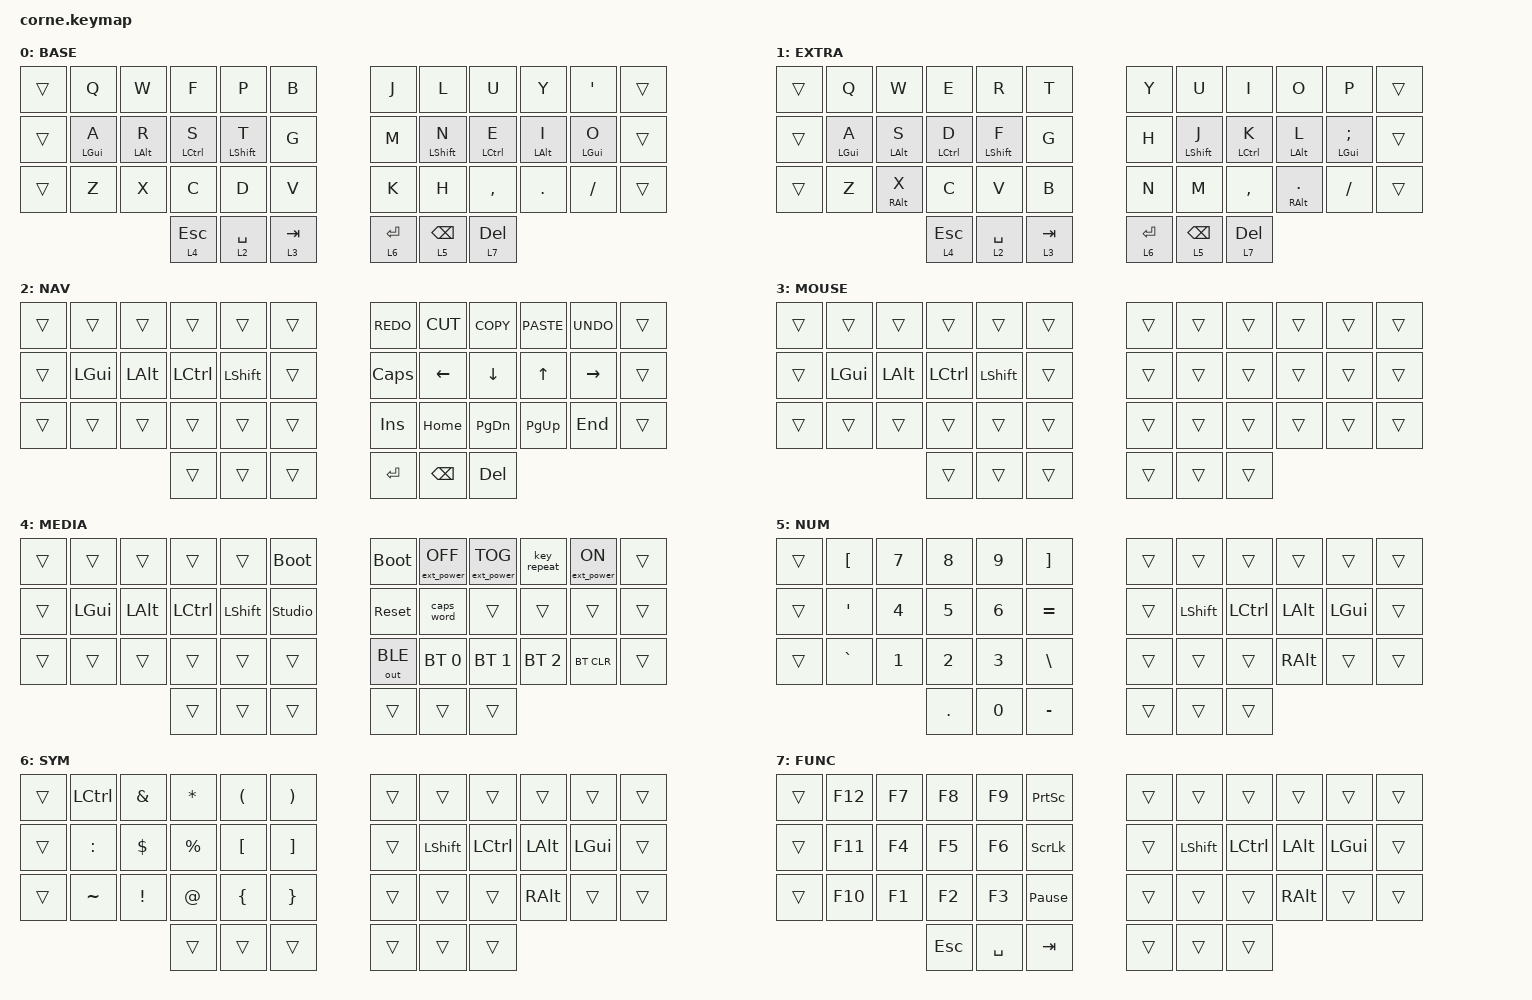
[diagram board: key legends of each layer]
#include <behaviors.dtsi>
#include <dt-bindings/zmk/bt.h>
#include <dt-bindings/zmk/ext_power.h>
#include <dt-bindings/zmk/keys.h>
#include <dt-bindings/zmk/outputs.h>

// Layer Definitions

#define COLEMAK 0
#define QWERTY 1
#define NAV 2
#define MOUSE 3
#define MEDIA 4
#define NUM 5
#define SYM 6
#define FN 7

// Behavior configuration

&mt {
    tapping-term-ms = <200>;
    quick_tap_ms = <0>;
    flavor = "tap-preferred";
};

&lt {
    tapping-term-ms = <200>;
    quick_tap_ms = <0>;
    flavor = "tap-preferred";
};

&sk {
    release-after-ms = <500>;
    quick-release;
};

// Keymap configuration (Colemak-DHm)

/ {
    combos {
        compatible = "zmk,combos";

        studio_unlock {
            bindings = <&studio_unlock>;
            key-positions = <3 15>;
        };

        extra_layer {
            bindings = <&to 1>;
            key-positions = <8 20>;
        };

        e_circumflex {
            bindings = <&kp LC(E)>;
            key-positions = <20 9>;
        };
    };

    keymap {
        compatible = "zmk,keymap";

        colemak {
            // -----------------------------------------------------------------------------------------------------------------------------
            // |        |   Q    |   W    |     E     |     R     |     T     | # |     Y     |     U    |    I    |    O   |   P    |     |
            // | LAYERS | A/LGUI | S/LALT |  D/LCTRL  |  F/LSHFT  |     G     | # |     H     | J/LSHFT  | K/LCTRR | L/LALT | ;/LGUI |     |
            // |        |   Z    | X/RALT |     C     |     V     |     B     | # |     N     |     M    |    ,    | ./RALT |   /    |     |
            //                            | ESC/MEDIA | SPACE/NAV | TAB/MOUSE | # | ENTER/SYM | BSPC/NUM | DEL/FN  |

            bindings = <
&trans  &kp Q       &kp W       &kp F        &kp P        &kp B        &kp J        &kp L        &kp U        &kp Y       &kp SQT     &trans
&trans  &mt LGUI A  &mt LALT R  &mt LCTRL S  &mt LSHFT T  &kp G        &kp M        &mt LSHFT N  &mt LCTRL E  &mt LALT I  &mt LGUI O  &trans
&trans  &kp Z       &kp X       &kp C        &kp D        &kp V        &kp K        &kp H        &kp COMMA    &kp PERIOD  &kp FSLH    &trans
                                &lt 4 ESC    &lt 2 SPACE  &lt 3 TAB    &lt 6 ENTER  &lt 5 BSPC   &lt 7 DEL
            >;

            display-name = "BASE";
        };

        qwerty {
            // -----------------------------------------------------------------------------------------------------------------------------
            // |        |   Q    |   W    |     F     |     P     |     B     | # |     J     |    L     |    U    |    Y   |   '    |     |
            // | LAYERS | A/LGUI | R/LALT |  S/LCTRL  |  T/LSHFT  |     G     | # |     M     | N/LSHFT  | E/LCTRL | I/LALT | O/LGUI |     |
            // |        |   Z    | X/RALT |     C     |     D     |     V     | # |     K     |    H     |    ,    | ./RALT |   /    |     |
            //                            | ESC/MEDIA | SPACE/NAV | TAB/MOUSE | # | ENTER/SYM | BSPC/NUM | DEL/FN  |

            bindings = <
&trans  &kp Q       &kp W       &kp E        &kp R        &kp T        &kp Y        &kp U        &kp I        &kp O         &kp P          &trans
&trans  &mt LGUI A  &mt LALT S  &mt LCTRL D  &mt LSHFT F  &kp G        &kp H        &mt LSHFT J  &mt LCTRL K  &mt LALT L    &mt LGUI SEMI  &trans
&trans  &kp Z       &mt RALT X  &kp C        &kp V        &kp B        &kp N        &kp M        &kp COMMA    &mt RALT DOT  &kp FSLH       &trans
                                &lt 4 ESC    &lt 2 SPACE  &lt 3 TAB    &lt 6 ENTER  &lt 5 BSPC   &lt 7 DEL
            >;

            display-name = "EXTRA";
        };

        navigation {
            // -------------------------------------------------------------------------------------------
            // |     |      |      |       |       |     | # | REDO  | CUT  | COPY | PASTE | UNDO  |     |
            // |     | LGUI | LALT | LCTRL | LSHFT |     | # | CAPS  | LEFT | DOWN | UP    | RIGHT |     |
            // |     |      | RALT |       |       |     | # | INS   | HOME | PGDN | PGUP  | END   |     |
            //                     |       | HELD  |     | # | ENTER | BSPC | DEL  |

            bindings = <
&trans  &trans    &trans    &trans     &trans     &trans    &kp K_REDO    &kp K_CUT  &kp K_COPY  &kp K_PASTE  &kp K_UNDO  &trans
&trans  &kp LGUI  &kp LALT  &kp LCTRL  &kp LSHFT  &trans    &kp CAPSLOCK  &kp LEFT   &kp DOWN    &kp UP       &kp RIGHT   &trans
&trans  &trans    &trans    &trans     &trans     &trans    &kp INS       &kp HOME   &kp PG_DN   &kp PG_UP    &kp END     &trans
                            &trans     &trans     &trans    &kp ENTER     &kp BSPC   &kp DEL
            >;

            display-name = "NAV";
        };

        mouse {
            // ------------------------------------------------------------------------------------
            // |     |      |      |       |       |      | # |     |     |     |     |     |     |
            // |     | LGUI | LALT | LCTRL | LSHFT |      | # |     |     |     |     |     |     |
            // |     |      | RALT |       |       |      | # |     |     |     |     |     |     |
            //                     |       |       | HELD | # |     |     |     |

            bindings = <
&trans  &trans    &trans    &trans     &trans     &trans    &trans  &trans  &trans  &trans  &trans  &trans
&trans  &kp LGUI  &kp LALT  &kp LCTRL  &kp LSHFT  &trans    &trans  &trans  &trans  &trans  &trans  &trans
&trans  &trans    &trans    &trans     &trans     &trans    &trans  &trans  &trans  &trans  &trans  &trans
                            &trans     &trans     &trans    &trans  &trans  &trans
            >;

            display-name = "MOUSE";
        };

        media {
            // -----------------------------------------------------------------------------------------------------
            // |     |      |      |       |       |      | # | BOOTLOAD | EP_OFF | BR_D   | BR_U   | EP_ON  |     |
            // |     | LGUI | LALT | LCTRL | LSHFT | STU  | # | RESET    | PREV   | VOL_D  | VOL_U  | NEXT   |     |
            // |     |      | RALT |       |       |      | # | OUT_BLE  | BT_0   | BT_PRV | BT_NXT | BT_CLR |     |
            //                     | HELD  |       |      | # | STOP     | PLAY   | MUTE   |

            bindings = <
&trans  &trans    &trans    &trans     &trans     &bootloader       &bootloader   &ext_power EP_OFF  &ext_power EP_TOG  &key_repeat   &ext_power EP_ON  &trans
&trans  &kp LGUI  &kp LALT  &kp LCTRL  &kp LSHFT  &studio_unlock    &sys_reset    &caps_word         &trans             &trans        &trans            &trans
&trans  &trans    &trans    &trans     &trans     &trans            &out OUT_BLE  &bt BT_SEL 0       &bt BT_SEL 1       &bt BT_SEL 2  &bt BT_CLR        &trans
                            &trans     &trans     &trans            &trans        &trans             &trans
            >;

            display-name = "MEDIA";
        };

        numbers {
            // -----------------------------------------------------------------------------------
            // |     |  [  |  7  |  8  |  9  |  ]  | # |     |       |       |      |      |     |
            // |     |  ;  |  4  |  5  |  6  |  =  | # |     | LSHFT | LCTRL | LALT | LGUI |     |
            // |     |  `  |  1  |  2  |  3  |  \  | # |     |       |       | RALT |      |     |
            //                   |  .  |  0  |  -  | # |     | HELD  |       |

            bindings = <
&trans  &kp LBKT   &kp N7  &kp N8   &kp N9  &kp RBKT     &trans  &trans     &trans     &trans    &trans    &trans
&trans  &kp SQT    &kp N4  &kp N5   &kp N6  &kp EQUAL    &trans  &kp LSHFT  &kp LCTRL  &kp LALT  &kp LGUI  &trans
&trans  &kp GRAVE  &kp N1  &kp N2   &kp N3  &kp BSLH     &trans  &trans     &trans     &kp RALT  &trans    &trans
                           &kp DOT  &kp N0  &kp MINUS    &trans  &trans     &trans
            >;

            display-name = "NUM";
        };

        symbols {
            // ------------------------------------------------------------------------------------
            // |     |  {  |  &  |  *  |  (  |  }  | # |      |       |       |      |      |     |
            // |     |  :  |  $  |  %  |  ^  |  +  | # |      | LSHFT | LCTRL | LALT | LGUI |     |
            // |     |  ~  |  !  |  @  |  #  |  |  | # |      |       |       | RALT |      |     |
            //                   |  (  |  )  |  _  | # | HELD |       |       |

            bindings = <
&trans  &kp LCTRL  &kp AMPS  &kp ASTRK  &kp LPAR        &kp RIGHT_PARENTHESIS    &trans  &trans     &trans     &trans    &trans    &trans
&trans  &kp COLON  &kp DLLR  &kp PRCNT  &kp LBKT        &kp RIGHT_BRACKET        &trans  &kp LSHFT  &kp LCTRL  &kp LALT  &kp LGUI  &trans
&trans  &kp TILDE  &kp EXCL  &kp AT     &kp LEFT_BRACE  &kp RIGHT_BRACE          &trans  &trans     &trans     &kp RALT  &trans    &trans
                             &trans     &trans          &trans                   &trans  &trans     &trans
            >;

            display-name = "SYM";
        };

        function {
            // ------------------------------------------------------------------------------------------
            // |     |  F12 |  F7  |  F8  |  F9   | PSCRN | # |     |       |       |      |      |     |
            // |     |  F11 |  F4  |  F5  |  F6   | SLCK  | # |     | LSHFT | LCTRL | LALT | LGUI |     |
            // |     |  F10 |  F1  |  F2  |  F3   | PAUSE | # |     |       |       | RALT |      |     |
            //                     | ESC  | SPACE |  TAB  | # |     |       | HELD  |

            bindings = <
&trans  &kp F12  &kp F7  &kp F8   &kp F9     &kp PSCRN          &trans  &trans     &trans     &trans    &trans    &trans
&trans  &kp F11  &kp F4  &kp F5   &kp F6     &kp SLCK           &trans  &kp LSHFT  &kp LCTRL  &kp LALT  &kp LGUI  &trans
&trans  &kp F10  &kp F1  &kp F2   &kp F3     &kp PAUSE_BREAK    &trans  &trans     &trans     &kp RALT  &trans    &trans
                         &kp ESC  &kp SPACE  &kp TAB            &trans  &trans     &trans
            >;

            display-name = "FUNC";
        };
    };
};
